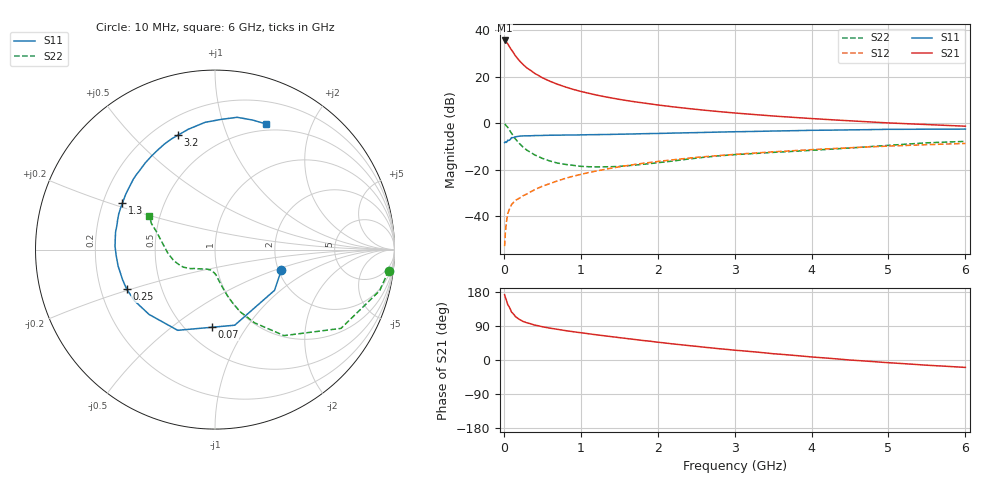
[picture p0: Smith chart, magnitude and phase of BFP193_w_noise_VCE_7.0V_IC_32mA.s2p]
! Infineon Technologies  Discrete & RF Semiconductors
! BFP193
! VCE =  7.0 V,  IC =  32 mA
! Common Emitter S-Parameters:  Jan 2017
# GHz  S  MA  R  50
!  f  S11  S21  S12  S22
! GHz  MAG  ANG  MAG  ANG  MAG  ANG  MAG  ANG
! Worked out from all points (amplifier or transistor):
!   77 points, 10 MHz to 6 GHz, reference 50 ohm
!   highest |S21| = 35.7 dB at 10 MHz (marker M1)
!   |S21| within 3 dB of that: start of sweep to 79.19 MHz
!   unconditionally stable (mu >= 1): 712.7 MHz to 2.401 GHz
!   at 130 MHz: K = 0.48, MSG = 32.0 dB, |S12| = -33.8 dB
!   at 2.2 GHz: K = 1.01, MAG = 10.7 dB, |S12| = -15.6 dB
!   at 6 GHz: K = 0.91, MSG = 3.7 dB, |S12| = -8.6 dB
!   lowest NFmin = 1.24 dB at 450 MHz
!   S11 on the Smith chart (normalised r, x): 10 MHz: 2.07, -0.56; 70 MHz: 0.66, -0.71; 250 MHz: 0.31, -0.19; 1.3 GHz: 0.28, +0.22; 3.2 GHz: 0.30, +0.69; 6 GHz: 0.43, +1.40
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0.01  0.3868 -17.2  60.71 172.2  0.0023 79.2  0.9746 -6.9
0.02  0.4019 -34.4  59.84 165.3  0.0045 88.3  0.9456 -14.0
0.05  0.4354 -75.4  51.62 146.6  0.0114 66.7  0.8279 -32.0
0.07  0.433 -92.3  45.53 140.0  0.014 63.2  0.733 -38.4
0.1  0.4954 -114.8  37.97 126.4  0.018 59.8  0.614 -51.3
0.15  0.5152 -135.5  28.48 114.7  0.0221 55.4  0.4641 -61.6
0.2  0.5316 -147.6  22.48 107.3  0.0246 57.1  0.3729 -68.0
0.25  0.5392 -156.1  18.45 101.8  0.0279 56.6  0.3098 -71.9
0.3  0.5417 -162.0  15.57 98.1  0.0305 57.8  0.2658 -75.0
0.4  0.5477 -170.5  11.92 92.2  0.0375 61.7  0.2108 -79.1
0.5  0.5519 -176.9  9.595 87.8  0.0446 62.1  0.1775 -82.4
0.6  0.5573 178.1  8.056 84.0  0.0512 63.8  0.1554 -85.5
0.7  0.5588 173.9  6.92 80.9  0.0582 65.1  0.1403 -87.9
0.9  0.5628 166.3  5.4 74.7  0.0733 64.5  0.1256 -94.1
1.1  0.5719 159.7  4.455 69.3  0.0878 64.0  0.1174 -100.1
1.3  0.5775 153.4  3.78 64.1  0.102 62.5  0.1168 -107.0
2.1  0.6135 131.3  2.383 44.8  0.1587 54.3  0.1491 -134.6
3.1  0.666 109.7  1.627 24.3  0.2216 42.5  0.2179 -157.6
3.2  0.6703 107.8  1.579 22.5  0.2274 41.4  0.2227 -159.6
4.1  0.7133 93.0  1.244 6.5  0.2784 31.2  0.2701 -178.7
5.1  0.7473 79.2  1.008 -8.4  0.3304 19.8  0.3465 162.2
6  0.7554 67.9  0.872 -19.6  0.3716 9.8  0.4113 153.0
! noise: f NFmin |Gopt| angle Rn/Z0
0.45  1.24  0.35  -173  0.08
0.9  1.3  0.39  -171  0.07
1.9  1.92  0.58  -136  0.17
2.4  2.25  0.62  -121  0.38
